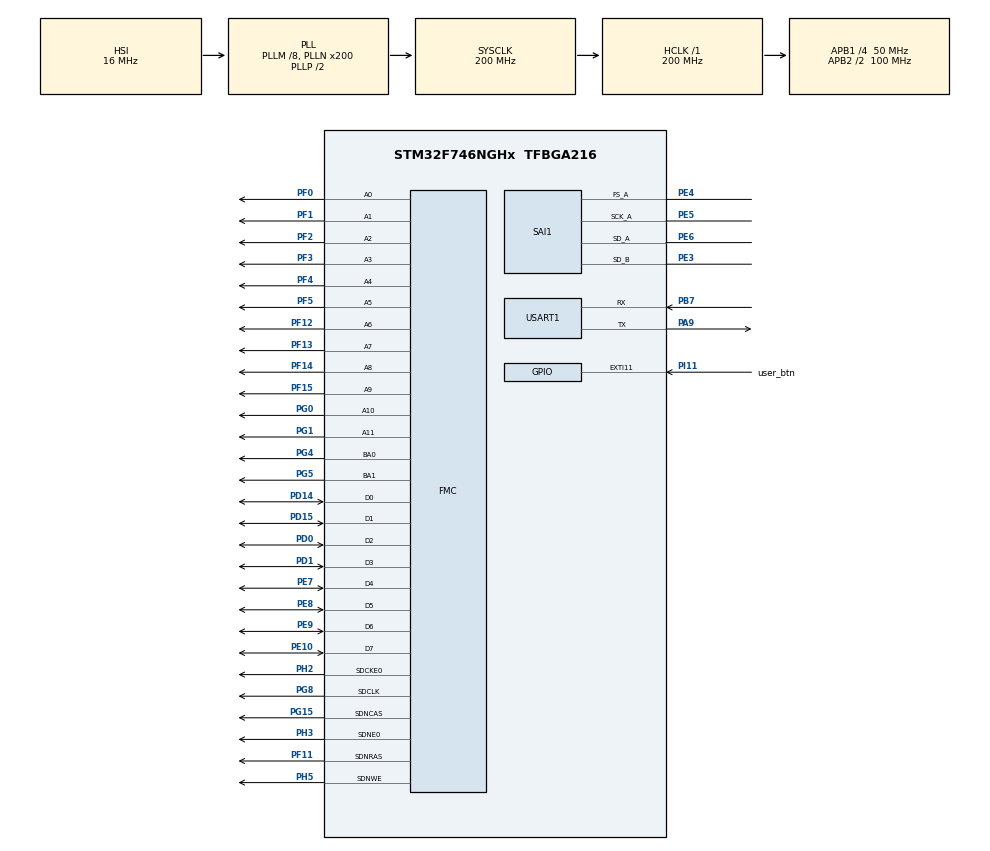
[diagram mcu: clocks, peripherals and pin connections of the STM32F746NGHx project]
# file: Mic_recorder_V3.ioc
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Dma.Request0=SAI1_A
Dma.Request1=SAI1_B
Dma.SAI1_A.0.Direction=DMA_PERIPH_TO_MEMORY
Dma.SAI1_A.0.FIFOMode=DMA_FIFOMODE_DISABLE
Dma.SAI1_A.0.Instance=DMA2_Stream1
Dma.SAI1_A.0.MemDataAlignment=DMA_MDATAALIGN_HALFWORD
Dma.SAI1_A.0.MemInc=DMA_MINC_ENABLE
Dma.SAI1_A.0.Mode=DMA_CIRCULAR
Dma.SAI1_A.0.PeriphDataAlignment=DMA_PDATAALIGN_HALFWORD
Dma.SAI1_A.0.PeriphInc=DMA_PINC_DISABLE
Dma.SAI1_A.0.Priority=DMA_PRIORITY_HIGH
Dma.SAI1_B.1.Direction=DMA_MEMORY_TO_PERIPH
Dma.SAI1_B.1.FIFOMode=DMA_FIFOMODE_DISABLE
Dma.SAI1_B.1.Instance=DMA2_Stream4
Dma.SAI1_B.1.MemDataAlignment=DMA_MDATAALIGN_HALFWORD
Dma.SAI1_B.1.MemInc=DMA_MINC_ENABLE
Dma.SAI1_B.1.Mode=DMA_CIRCULAR
Dma.SAI1_B.1.PeriphDataAlignment=DMA_PDATAALIGN_HALFWORD
Dma.SAI1_B.1.PeriphInc=DMA_PINC_DISABLE
Dma.SAI1_B.1.Priority=DMA_PRIORITY_LOW
FMC.CASLatency1=FMC_SDRAM_CAS_LATENCY_3
FMC.ExitSelfRefreshDelay1=6
FMC.LoadToActiveDelay1=2
FMC.RCDDelay1=2
FMC.RPDelay1=2
FMC.RPDelay2=2
FMC.ReadBurst1=FMC_SDRAM_RBURST_DISABLE
FMC.ReadPipeDelay1=FMC_SDRAM_RPIPE_DELAY_0
FMC.RowCycleDelay1=6
FMC.RowCycleDelay2=6
FMC.SDClockPeriod1=FMC_SDRAM_CLOCK_PERIOD_2
FMC.SDClockPeriod2=FMC_SDRAM_CLOCK_PERIOD_2
FMC.SelfRefreshTime1=4
FMC.WriteRecoveryTime1=2
Mcu.Family=STM32F7
Mcu.Name=STM32F746NGHx
Mcu.Package=TFBGA216
NVIC.DMA2_Stream1_IRQn=true\:0\:0\:false\:false\:true\:false\:true\:true
NVIC.DMA2_Stream4_IRQn=true\:0\:0\:false\:false\:true\:false\:true\:true
NVIC.EXTI15_10_IRQn=true\:0\:0\:false\:false\:true\:true\:true\:true
NVIC.PriorityGroup=NVIC_PRIORITYGROUP_4
PA13.Mode=Serial_Wire
PA13.Signal=SYS_JTMS-SWDIO
PA14.Mode=Serial_Wire
PA14.Signal=SYS_JTCK-SWCLK
PA9.Mode=Asynchronous
PA9.Signal=USART1_TX
PB7.Mode=Asynchronous
PB7.Signal=USART1_RX
PD0.Signal=FMC_D2_DA2
PD1.Signal=FMC_D3_DA3
PD14.Signal=FMC_D0_DA0
PD15.Signal=FMC_D1_DA1
PE10.Signal=FMC_D7_DA7
PE3.Mode=SAI_B_SyncSlave
PE3.Signal=SAI1_SD_B
PE4.Mode=SAI_A_Master
PE4.Signal=SAI1_FS_A
PE5.Mode=SAI_A_Master
PE5.Signal=SAI1_SCK_A
PE6.Mode=SAI_A_Master
PE6.Signal=SAI1_SD_A
PE7.Signal=FMC_D4_DA4
PE8.Signal=FMC_D5_DA5
PE9.Signal=FMC_D6_DA6
PF0.Signal=FMC_A0
PF1.Signal=FMC_A1
PF11.Signal=FMC_SDNRAS
PF12.Signal=FMC_A6
PF13.Signal=FMC_A7
PF14.Signal=FMC_A8
PF15.Signal=FMC_A9
PF2.Signal=FMC_A2
PF3.Signal=FMC_A3
PF4.Signal=FMC_A4
PF5.Signal=FMC_A5
PG0.Signal=FMC_A10
PG1.Signal=FMC_A11
PG15.Signal=FMC_SDNCAS
PG4.Signal=FMC_A14_BA0
PG5.Signal=FMC_A15_BA1
PG8.Signal=FMC_SDCLK
PH0/OSC_IN.Mode=HSE-External-Oscillator
PH0/OSC_IN.Signal=RCC_OSC_IN
PH1/OSC_OUT.Mode=HSE-External-Oscillator
PH1/OSC_OUT.Signal=RCC_OSC_OUT
PH2.Mode=SdramChipSelect1_1
PH2.Signal=FMC_SDCKE0
PH3.Mode=SdramChipSelect1_1
PH3.Signal=FMC_SDNE0
PH5.Signal=FMC_SDNWE
PI11.GPIO_Label=user_btn
PI11.Signal=GPXTI11
ProjectManager.HeapSize=0x200
ProjectManager.StackSize=0x400
ProjectManager.TargetToolchain=STM32CubeIDE
RCC.AHBFreq_Value=200000000
RCC.APB1CLKDivider=RCC_HCLK_DIV4
RCC.APB1Freq_Value=50000000
RCC.APB1TimFreq_Value=100000000
RCC.APB2CLKDivider=RCC_HCLK_DIV2
RCC.APB2Freq_Value=100000000
RCC.APB2TimFreq_Value=200000000
RCC.CortexFreq_Value=200000000
RCC.HCLKFreq_Value=200000000
RCC.HSE_VALUE=25000000
RCC.HSI_VALUE=16000000
RCC.LSE_VALUE=32768
RCC.PLLM=8
RCC.PLLN=200
RCC.PLLSAIN=50
RCC.PLLSourceVirtual=RCC_PLLSOURCE_HSI
RCC.SYSCLKFreq_VALUE=200000000
RCC.SYSCLKSource=RCC_SYSCLKSOURCE_PLLCLK
RCC.USBFreq_Value=200000000
RCC.VCOOutputFreq_Value=400000000
SAI1.AudioFrequency-SAI_A_Master=SAI_AUDIO_FREQUENCY_16K
SAI1.AudioMode-SAI_A_Master=SAI_MODEMASTER_RX
SAI1.AudioMode-SAI_B_SyncSlave=SAI_MODESLAVE_TX
SAI1.DataSize-SAI_A_Master=SAI_DATASIZE_16
SAI1.DataSize-SAI_B_SyncSlave=SAI_DATASIZE_16
SAI1.ErrorAudioFreq-SAI_A_Master=1.72 %
SAI1.FIFOThreshold-SAI_B_SyncSlave=SAI_FIFOTHRESHOLD_1QF
SAI1.FrameLength-SAI_A_Master=16
SAI1.FrameLength-SAI_B_SyncSlave=16
SAI1.Instance-SAI_A_Master=SAI$Index_Block_A
SAI1.Instance-SAI_B_SyncSlave=SAI$Index_Block_B
SAI1.MClockEnable-SAI_A_Master=SAI_MASTERCLOCK_DISABLE
SAI1.RealAudioFreq-SAI_A_Master=16.276 KHz
SAI1.VirtualMode-SAI_A_Master=VM_MASTER
SAI1.VirtualMode-SAI_B_SyncSlave=VM_SLAVE
SH.FMC_A0.0=FMC_A0,12b-sda1
SH.FMC_A1.0=FMC_A1,12b-sda1
SH.FMC_A10.0=FMC_A10,12b-sda1
SH.FMC_A11.0=FMC_A11,12b-sda1
SH.FMC_A14_BA0.0=FMC_BA0,FourSdramBanks1
SH.FMC_A15_BA1.0=FMC_BA1,FourSdramBanks1
SH.FMC_A2.0=FMC_A2,12b-sda1
SH.FMC_A3.0=FMC_A3,12b-sda1
SH.FMC_A4.0=FMC_A4,12b-sda1
SH.FMC_A5.0=FMC_A5,12b-sda1
SH.FMC_A6.0=FMC_A6,12b-sda1
SH.FMC_A7.0=FMC_A7,12b-sda1
SH.FMC_A8.0=FMC_A8,12b-sda1
SH.FMC_A9.0=FMC_A9,12b-sda1
SH.FMC_D0_DA0.0=FMC_D0,sd-8b-d1
SH.FMC_D1_DA1.0=FMC_D1,sd-8b-d1
SH.FMC_D2_DA2.0=FMC_D2,sd-8b-d1
SH.FMC_D3_DA3.0=FMC_D3,sd-8b-d1
SH.FMC_D4_DA4.0=FMC_D4,sd-8b-d1
SH.FMC_D5_DA5.0=FMC_D5,sd-8b-d1
SH.FMC_D6_DA6.0=FMC_D6,sd-8b-d1
SH.FMC_D7_DA7.0=FMC_D7,sd-8b-d1
SH.FMC_SDCLK.0=FMC_SDCLK,12b-sda1
SH.FMC_SDNCAS.0=FMC_SDNCAS,12b-sda1
SH.FMC_SDNRAS.0=FMC_SDNRAS,12b-sda1
SH.FMC_SDNWE.0=FMC_SDNWE,12b-sda1
USART1.VirtualMode-Asynchronous=VM_ASYNC
board=STM32F746G-DISCO

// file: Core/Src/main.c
/* USER CODE BEGIN Header */
/**
  ******************************************************************************
  * @file           : main.c
  * @brief          : Main program body
  ******************************************************************************
  * @attention
  *
  * Copyright (c) 2024 STMicroelectronics.
  * All rights reserved.
  *
  * This software is licensed under terms that can be found in the LICENSE file
  * in the root directory of this software component.
  * If no LICENSE file comes with this software, it is provided AS-IS.
  *
  ******************************************************************************
  */
/* USER CODE END Header */
#include "main.h"
#include "dma.h"
#include "sai.h"
#include "usart.h"
#include "gpio.h"
#include "fmc.h"

/* USER CODE BEGIN Includes */
#include "stm32746g_discovery_audio.h"
/* USER CODE END Includes */

/* USER CODE BEGIN PTD */

#define AUDIO_BUFFER_SIZE       2048
#define AUDIO_DEFAULT_VOLUME    70

#define AUDIO_FILE_SIZE               524288
#define AUDIO_START_OFFSET_ADDRESS    0            /* Offset relative to audio file header size */
#define AUDIO_FILE_ADDRESS            0x08080000   /* Audio file address */

typedef enum
{
  BUFFER_OFFSET_NONE = 0,
  BUFFER_OFFSET_HALF = 1,
  BUFFER_OFFSET_FULL = 2,
}BUFFER_StateTypeDef;

typedef enum {
  AUDIO_ERROR_NONE = 0,
  AUDIO_ERROR_NOTREADY,
  AUDIO_ERROR_IO,
  AUDIO_ERROR_EOF,
}AUDIO_ErrorTypeDef;

typedef enum {
  AUDIO_STATE_IDLE = 0,
  AUDIO_STATE_INIT,
  AUDIO_STATE_PLAYING,
}AUDIO_PLAYBACK_StateTypeDef;

typedef struct {
  uint8_t buff[AUDIO_BUFFER_SIZE];
  uint32_t fptr;
  BUFFER_StateTypeDef state;
}AUDIO_BufferTypeDef;

#define AUDIO_BLOCK_SIZE   ((uint32_t)0xFFFE)
#define AUDIO_NB_BLOCKS    ((uint32_t)4)

#define SDRAM_DEVICE_ADDR  ((uint32_t)0xC0000000)
#define AUDIO_REC_START_ADDR         SDRAM_DEVICE_ADDR

/* USER CODE END PTD */

/* USER CODE BEGIN PV */
static uint16_t  internal_buffer[AUDIO_BLOCK_SIZE];
//static uint16_t internal_audio_storage[AUDIO_BLOCK_SIZE * AUDIO_NB_BLOCKS]; /* Internal RAM storage buffer */

uint32_t  audio_rec_buffer_state;
ALIGN_32BYTES (static AUDIO_BufferTypeDef  buffer_ctl);

__attribute__((section(".sdram"))) static uint16_t internal_audio_storage[AUDIO_BLOCK_SIZE * AUDIO_NB_BLOCKS];

static AUDIO_PLAYBACK_StateTypeDef  audio_state;
static uint32_t  AudioStartAddress;
static uint32_t  AudioFileSize;

volatile uint8_t button_pressed = 0;

/* USER CODE END PV */

void SystemClock_Config(void);
void PeriphCommonClock_Config(void);
/* USER CODE BEGIN PFP */
#ifdef __GNUC__
/* With GCC/RAISONANCE, small printf (option LD Linker-
>Libraries->Small printf
set to 'Yes') calls __io_putchar() */
#define PUTCHAR_PROTOTYPE int __io_putchar(int ch)
#else
#define PUTCHAR_PROTOTYPE int fputc(int ch, FILE *f)
#endif /* __GNUC__ */

static uint32_t GetData(void *pdata, uint32_t offset, uint8_t *pbuf, uint32_t NbrOfData);
uint8_t AUDIO_Process(void);
/* USER CODE END PFP */

int main(void)
{

  /* MCU Configuration--------------------------------------------------------*/

  /* Reset of all peripherals, Initializes the Flash interface and the Systick. */
  HAL_Init();

  /* Configure the system clock */
  SystemClock_Config();

  /* Configure the peripherals common clocks */
  PeriphCommonClock_Config();

  /* Initialize all configured peripherals */
  MX_GPIO_Init();
  MX_DMA_Init();
  MX_SAI1_Init();
  MX_USART1_UART_Init();
  MX_FMC_Init();
  /* USER CODE BEGIN 2 */
  printf("INIT OK\r\n");

  BSP_SDRAM_Init();

    if (BSP_SDRAM_Init() != HAL_OK) {
        printf("SDRAM initialization failed\r\n");
        Error_Handler();
    } else {
        printf("SDRAM initialization OK\r\n");
    }

  /* USER CODE END 2 */

  /* Infinite loop */
  while (1)
  {

    /* USER CODE BEGIN 3 */
	  //check_button_release();
	  printf("Waiting for input to record...\r\n");
	  HAL_Delay(1000);
	  if (button_pressed == 1)
	  {
		  check_button_release();
		  AudioRec_demo();
	  }
  }
  /* USER CODE END 3 */
}

void SystemClock_Config(void)
{
  RCC_OscInitTypeDef RCC_OscInitStruct = {0};
  RCC_ClkInitTypeDef RCC_ClkInitStruct = {0};

  /** Configure the main internal regulator output voltage
  */
  __HAL_RCC_PWR_CLK_ENABLE();
  __HAL_PWR_VOLTAGESCALING_CONFIG(PWR_REGULATOR_VOLTAGE_SCALE1);

  /** Initializes the RCC Oscillators according to the specified parameters
  * in the RCC_OscInitTypeDef structure.
  */
  RCC_OscInitStruct.OscillatorType = RCC_OSCILLATORTYPE_HSI;
  RCC_OscInitStruct.HSIState = RCC_HSI_ON;
  RCC_OscInitStruct.HSICalibrationValue = RCC_HSICALIBRATION_DEFAULT;
  RCC_OscInitStruct.PLL.PLLState = RCC_PLL_ON;
  RCC_OscInitStruct.PLL.PLLSource = RCC_PLLSOURCE_HSI;
  RCC_OscInitStruct.PLL.PLLM = 8;
  RCC_OscInitStruct.PLL.PLLN = 200;
  RCC_OscInitStruct.PLL.PLLP = RCC_PLLP_DIV2;
  RCC_OscInitStruct.PLL.PLLQ = 2;
  if (HAL_RCC_OscConfig(&RCC_OscInitStruct) != HAL_OK)
  {
    Error_Handler();
  }

  /** Activate the Over-Drive mode
  */
  if (HAL_PWREx_EnableOverDrive() != HAL_OK)
  {
    Error_Handler();
  }

  /** Initializes the CPU, AHB and APB buses clocks
  */
  RCC_ClkInitStruct.ClockType = RCC_CLOCKTYPE_HCLK|RCC_CLOCKTYPE_SYSCLK
                              |RCC_CLOCKTYPE_PCLK1|RCC_CLOCKTYPE_PCLK2;
  RCC_ClkInitStruct.SYSCLKSource = RCC_SYSCLKSOURCE_PLLCLK;
  RCC_ClkInitStruct.AHBCLKDivider = RCC_SYSCLK_DIV1;
  RCC_ClkInitStruct.APB1CLKDivider = RCC_HCLK_DIV4;
  RCC_ClkInitStruct.APB2CLKDivider = RCC_HCLK_DIV2;

  if (HAL_RCC_ClockConfig(&RCC_ClkInitStruct, FLASH_LATENCY_6) != HAL_OK)
  {
    Error_Handler();
  }
}

void PeriphCommonClock_Config(void)
{
  RCC_PeriphCLKInitTypeDef PeriphClkInitStruct = {0};

  /** Initializes the peripherals clock
  */
  PeriphClkInitStruct.PeriphClockSelection = RCC_PERIPHCLK_SAI1;
  PeriphClkInitStruct.PLLSAI.PLLSAIN = 50;
  PeriphClkInitStruct.PLLSAI.PLLSAIR = 2;
  PeriphClkInitStruct.PLLSAI.PLLSAIQ = 2;
  PeriphClkInitStruct.PLLSAI.PLLSAIP = RCC_PLLSAIP_DIV2;
  PeriphClkInitStruct.PLLSAIDivQ = 1;
  PeriphClkInitStruct.PLLSAIDivR = RCC_PLLSAIDIVR_2;
  PeriphClkInitStruct.Sai1ClockSelection = RCC_SAI1CLKSOURCE_PLLSAI;
  if (HAL_RCCEx_PeriphCLKConfig(&PeriphClkInitStruct) != HAL_OK)
  {
    Error_Handler();
  }
}

/* USER CODE BEGIN 4 */

PUTCHAR_PROTOTYPE
{
/* Place your implementation of fputc here */
/* e.g. write a character to the USART2 and Loop until the end
of transmission */
HAL_UART_Transmit(&huart1, (uint8_t *)&ch, 1, 100);
return ch;
}

void HAL_GPIO_EXTI_Callback(uint16_t GPIO_Pin)
{
  /* Prevent unused argument(s) compilation warning */
  UNUSED(GPIO_Pin);

  if (GPIO_Pin == user_btn_Pin && button_pressed == 0)
      {
	  	  button_pressed = 1;
	  	  printf("Button pressed...\r\n");
      }
}

void check_button_release()
{
    if (HAL_GPIO_ReadPin(GPIOI, user_btn_Pin) == GPIO_PIN_RESET) button_pressed = 0;
}

/**
  * @brief  Starts Audio streaming.
  * @param  None
  * @retval Audio error
  */
AUDIO_ErrorTypeDef AUDIO_Start(uint32_t audio_start_address, uint32_t audio_file_size)
{
  uint32_t bytesread;

  buffer_ctl.state = BUFFER_OFFSET_NONE;
  AudioStartAddress = audio_start_address;
  AudioFileSize = audio_file_size;
  bytesread = GetData( (void *)AudioStartAddress,
                      0,
                      &buffer_ctl.buff[0],
                      AUDIO_BUFFER_SIZE);
  if(bytesread > 0)
  {
    /* Clean Data Cache to update the content of the SRAM */
    SCB_CleanDCache_by_Addr((uint32_t*)&buffer_ctl.buff[0], AUDIO_BUFFER_SIZE/2);

    BSP_AUDIO_OUT_Play((uint16_t*)&buffer_ctl.buff[0], AUDIO_BUFFER_SIZE);
    audio_state = AUDIO_STATE_PLAYING;
    buffer_ctl.fptr = bytesread;
    return AUDIO_ERROR_NONE;
  }
  return AUDIO_ERROR_IO;
}

uint8_t AUDIO_Process(void)
{
  uint32_t bytesread;
  AUDIO_ErrorTypeDef error_state = AUDIO_ERROR_NONE;

  switch(audio_state)
  {
  case AUDIO_STATE_PLAYING:

    if(buffer_ctl.fptr >= AudioFileSize)
    {
      /* Play audio sample again ... */
      buffer_ctl.fptr = 0;
      error_state = AUDIO_ERROR_EOF;
    }

    /* 1st half buffer played; so fill it and continue playing from bottom*/
    if(buffer_ctl.state == BUFFER_OFFSET_HALF)
    {
      bytesread = GetData((void *)AudioStartAddress,
                          buffer_ctl.fptr,
                          &buffer_ctl.buff[0],
                          AUDIO_BUFFER_SIZE /2);

      if( bytesread >0)
      {
        buffer_ctl.state = BUFFER_OFFSET_NONE;
        buffer_ctl.fptr += bytesread;

        /* Clean Data Cache to update the content of the SRAM */
        SCB_CleanDCache_by_Addr((uint32_t*)&buffer_ctl.buff[0], AUDIO_BUFFER_SIZE/2);
      }
    }

    /* 2nd half buffer played; so fill it and continue playing from top */
    if(buffer_ctl.state == BUFFER_OFFSET_FULL)
    {
      bytesread = GetData((void *)AudioStartAddress,
                          buffer_ctl.fptr,
                          &buffer_ctl.buff[AUDIO_BUFFER_SIZE /2],
                          AUDIO_BUFFER_SIZE /2);
      if( bytesread > 0)
      {
        buffer_ctl.state = BUFFER_OFFSET_NONE;
        buffer_ctl.fptr += bytesread;

        /* Clean Data Cache to update the content of the SRAM */
        SCB_CleanDCache_by_Addr((uint32_t*)&buffer_ctl.buff[AUDIO_BUFFER_SIZE/2], AUDIO_BUFFER_SIZE/2);
      }
    }
    break;

  default:
    error_state = AUDIO_ERROR_NOTREADY;
    break;
  }

  return (uint8_t) error_state;
}

static uint32_t GetData(void *pdata, uint32_t offset, uint8_t *pbuf, uint32_t NbrOfData)
{
  uint8_t *lptr = pdata;
  uint32_t ReadDataNbr;

  ReadDataNbr = 0;
  while(((offset + ReadDataNbr) < AudioFileSize) && (ReadDataNbr < NbrOfData))
  {
    pbuf[ReadDataNbr]= lptr [offset + ReadDataNbr];
    ReadDataNbr++;
  }
  return ReadDataNbr;
}

void BSP_AUDIO_OUT_TransferComplete_CallBack(void)
{
  if(audio_state == AUDIO_STATE_PLAYING)
  {
    /* allows AUDIO_Process() to refill 2nd part of the buffer  */
    buffer_ctl.state = BUFFER_OFFSET_FULL;
  }
}

void BSP_AUDIO_OUT_HalfTransfer_CallBack(void)
{
  if(audio_state == AUDIO_STATE_PLAYING)
  {
    /* allows AUDIO_Process() to refill 1st part of the buffer  */
    buffer_ctl.state = BUFFER_OFFSET_HALF;
  }
}

void BSP_AUDIO_IN_TransferComplete_CallBack(void)
{
  audio_rec_buffer_state = BUFFER_OFFSET_FULL;
  printf("Full buffer callback triggered\r\n");
  return;
}

/**
  * @brief  Manages the DMA Half Transfer complete interrupt.
  * @param  None
  * @retval None
  */
void BSP_AUDIO_IN_HalfTransfer_CallBack(void)
{
  audio_rec_buffer_state = BUFFER_OFFSET_HALF;
  printf("Half buffer callback triggered\r\n");
  return;
}

/**
  * @brief  Audio IN Error callback function.
  * @param  None
  * @retval None
  */
void BSP_AUDIO_IN_Error_CallBack(void)
{
  /* This function is called when an Interrupt due to transfer error on or peripheral
     error occurs. */
  /* Display message on the LCD screen */
  printf("error callback BSP IN\r\n");
  /* could also generate a system reset to recover from the error */
  /* .... */
}

void AudioRec_demo (void)
{
  uint32_t  block_number;

  //AudioRec_SetHint();

  /* Initialize Audio Recorder */
  if (BSP_AUDIO_IN_Init(DEFAULT_AUDIO_IN_FREQ, DEFAULT_AUDIO_IN_BIT_RESOLUTION, DEFAULT_AUDIO_IN_CHANNEL_NBR) == AUDIO_OK)
  {
	  printf("AUDIO IN INIT OK\r\n");
  }
  else
  {
	  printf("AUDIO INIT FAILED\r\n");
  }

  audio_rec_buffer_state = BUFFER_OFFSET_NONE;

  /* Start Recording */
  BSP_AUDIO_IN_Record(internal_buffer, AUDIO_BLOCK_SIZE);
  printf("Recording...\r\n");

  for (block_number = 0; block_number < AUDIO_NB_BLOCKS; block_number++)
  {
    /* Wait end of half block recording */
    while(audio_rec_buffer_state != BUFFER_OFFSET_HALF)
    {
    	printf("Waiting for half buffer to fill\r\n");
    	HAL_Delay(1000);
    }
    audio_rec_buffer_state = BUFFER_OFFSET_NONE;
    /* Copy recorded 1st half block in SDRAM */

    printf("Saving half block\r\n");
    memcpy((uint32_t *)(AUDIO_REC_START_ADDR + (block_number * AUDIO_BLOCK_SIZE * 2)),
           internal_buffer,
           AUDIO_BLOCK_SIZE);
    /* Wait end of one block recording */
    while(audio_rec_buffer_state != BUFFER_OFFSET_FULL)
    {

    }
    audio_rec_buffer_state = BUFFER_OFFSET_NONE;
    /* Copy recorded 2nd half block in SDRAM */
    printf("Saving 2nd half block\r\n");
    memcpy((uint32_t *)(AUDIO_REC_START_ADDR + (block_number * AUDIO_BLOCK_SIZE * 2) + (AUDIO_BLOCK_SIZE)),
           (uint16_t *)(&internal_buffer[AUDIO_BLOCK_SIZE/2]),
           AUDIO_BLOCK_SIZE);

  }

  /* Stop recorder */
  BSP_AUDIO_IN_Stop(CODEC_PDWN_SW);
  printf("Recording stopped\r\n");

  /* -----------Start Playback -------------- */
  /* Initialize audio IN at REC_FREQ*/
  BSP_AUDIO_OUT_Init(OUTPUT_DEVICE_HEADPHONE, 70, DEFAULT_AUDIO_IN_FREQ);
  BSP_AUDIO_OUT_SetAudioFrameSlot(CODEC_AUDIOFRAME_SLOT_02);

  /* Play the recorded buffer*/
  printf("Playing audio\r\n");
  AUDIO_Start(AUDIO_REC_START_ADDR, AUDIO_BLOCK_SIZE * AUDIO_NB_BLOCKS * 2);  /* Use Audio play demo to playback sound */

  while (1)
  {
    AUDIO_Process();

    if (button_pressed == 1)
    {
      /* Stop Player before close Test */
      BSP_AUDIO_OUT_Stop(CODEC_PDWN_SW);
      return;
    }
  }
  check_button_release();
}

/* USER CODE END 4 */

void Error_Handler(void)
{
  __disable_irq();
  while (1)
  {
  }
}
